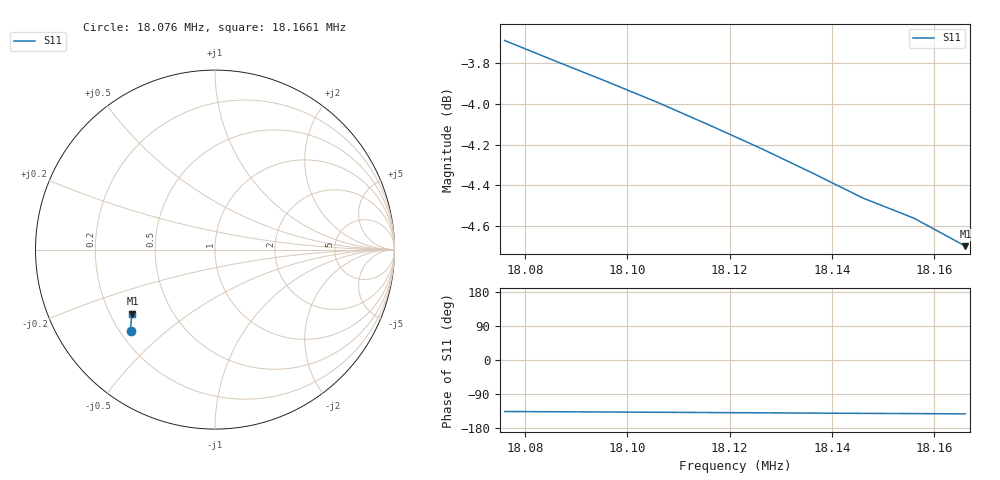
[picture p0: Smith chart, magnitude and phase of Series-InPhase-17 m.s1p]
# HZ S RI R 50
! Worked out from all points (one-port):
!   10 points, 18.076 MHz to 18.1661 MHz, reference 50 ohm
!   lowest |S11| = -4.7 dB at 18.1661 MHz (marker M1), VSWR 3.79, Z = 14.6 - j15.8 ohm
!   |S11| at or under -10 dB: nowhere
1.807603e7  -0.4697 -0.455
1.808603e7  -0.4693 -0.4444
1.809604e7  -0.4691 -0.4337
1.810604e7  -0.4688 -0.4229
1.811604e7  -0.468 -0.4119
1.812605e7  -0.467 -0.4007
1.813605e7  -0.4656 -0.3893
1.814606e7  -0.464 -0.3777
1.815606e7  -0.4624 -0.3689
1.816606e7  -0.46 -0.3571
